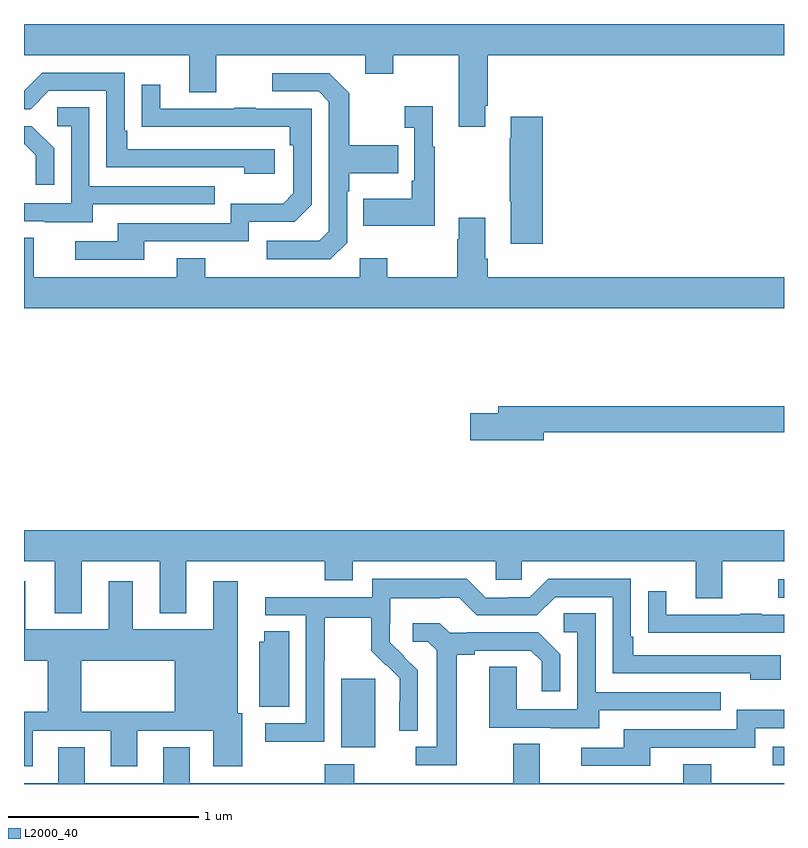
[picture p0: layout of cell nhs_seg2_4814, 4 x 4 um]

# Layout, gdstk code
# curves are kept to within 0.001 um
import gdstk
lib = gdstk.Library(unit=1e-6, precision=1e-09)
def R(c, l, rs):  # rectangles x0, y0, x1, y1
    for r in rs: c.add(gdstk.rectangle(r[:2], r[2:], *l))
def P(c, l, *ps):  # polygons
    for p in ps: c.add(gdstk.Polygon(p, *l))
L2000_40 = (2000, 40)

nhs_seg2_4814 = lib.new_cell('nhs_seg2_4814')
R(nhs_seg2_4814, L2000_40, [(376.941,643.899,377,643.995), (374.669,643.994,374.848,644.355), (376.971,644.781,377,644.877)])
P(nhs_seg2_4814, L2000_40, [(375.427,647.371),(375.44,647.371),(375.44,647.636),(377,647.636),(377,647.8),(373,647.8),(373,647.636),(373.871,647.636),(373.871,647.442),(374.011,647.442),(374.011,647.636),(374.795,647.636),(374.795,647.537),(374.943,647.537),(374.943,647.636),(375.287,647.636),(375.287,647.259),(375.427,647.259)],
  [(374.32,647.142),(373.543,647.142),(373.543,647.239),(373.53,647.239),(373.53,647.544),(373.095,647.544),(373,647.449),(373,647.352),(373.035,647.352),(373.131,647.448),(373.434,647.448),(373.434,647.046),(374.159,647.046),(374.159,647.012),(374.32,647.012)],
  [(374.7,646.65),(374.7,646.919),(374.713,646.919),(374.713,647.015),(374.969,647.015),(374.969,647.163),(374.713,647.163),(374.713,647.435),(374.607,647.541),(374.307,647.541),(374.307,647.445),(374.55,647.445),(374.604,647.391),(374.604,646.71),(374.553,646.659),(374.277,646.659),(374.277,646.563),(374.613,646.563)],
  [(373.633,646.656),(374.184,646.656),(374.184,646.758),(374.424,646.758),(374.514,646.848),(374.514,647.355),(374.219,647.355),(374.219,647.36),(374.107,647.36),(374.107,647.355),(373.717,647.355),(373.717,647.479),(373.621,647.479),(373.621,647.26),(374.398,647.259),(374.398,647.162),(374.418,647.162),(374.418,646.908),(374.365,646.855),(374.088,646.855),(374.088,646.752),(373.493,646.752),(373.493,646.656),(373.269,646.656),(373.269,646.56),(373.633,646.56)],
  [(375.163,647.155),(375.151,647.155),(375.151,647.368),(375.003,647.368),(375.003,647.255),(375.054,647.255),(375.054,646.975),(375.042,646.975),(375.042,646.879),(374.785,646.879),(374.785,646.739),(375.163,646.739)],
  [(373.363,646.851),(374.003,646.851),(374.003,646.947),(373.344,646.947),(373.344,647.363),(373.176,647.363),(373.176,647.262),(373.248,647.262),(373.248,646.857),(373,646.857),(373,646.761),(373.109,646.761),(373.109,646.757),(373.363,646.757)],
  [(375.731,647.311),(375.563,647.311),(375.563,647.198),(375.556,647.198),(375.556,646.867),(375.563,646.867),(375.563,646.644),(375.731,646.644)],
  [(373.158,647.146),(373.042,647.262),(373,647.262),(373,647.166),(373.004,647.166),(373.061,647.109),(373.061,646.953),(373.158,646.953)],
  [(377,646.468),(375.44,646.468),(375.44,646.564),(375.427,646.564),(375.427,646.78),(375.287,646.78),(375.287,646.667),(375.28,646.667),(375.28,646.468),(374.913,646.468),(374.913,646.567),(374.766,646.567),(374.766,646.468),(373.953,646.468),(373.953,646.567),(373.805,646.567),(373.805,646.468),(373.051,646.468),(373.051,646.676),(373,646.676),(373,646.304),(377,646.304)],
  [(375.736,645.652),(377,645.652),(377,645.788),(375.497,645.788),(375.497,645.752),(375.348,645.752),(375.348,645.61),(375.736,645.61)],
  [(373.303,644.972),(373.715,644.972),(373.715,644.699),(373.855,644.699),(373.855,644.972),(374.584,644.972),(374.584,644.873),(374.731,644.873),(374.731,644.972),(375.483,644.972),(375.483,644.874),(375.621,644.874),(375.621,644.972),(376.535,644.972),(376.535,644.778),(376.675,644.778),(376.675,644.972),(377,644.972),(377,645.136),(373,645.136),(373,644.972),(373.163,644.972),(373.163,644.699),(373.303,644.699)],
  [(374.58,644.452),(374.583,644.452),(374.583,644.676),(374.827,644.676),(374.827,644.501),(374.904,644.424),(374.907,644.427),(374.978,644.357),(374.978,644.234),(374.976,644.234),(374.976,644.08),(375.072,644.08),(375.072,644.398),(374.926,644.546),(374.926,644.643),(374.928,644.643),(374.928,644.777),(375.191,644.777),(375.191,644.781),(375.291,644.781),(375.384,644.688),(375.699,644.688),(375.795,644.784),(376.098,644.784),(376.098,644.382),(376.823,644.382),(376.823,644.348),(376.984,644.348),(376.984,644.478),(376.207,644.478),(376.207,644.575),(376.194,644.575),(376.194,644.88),(375.759,644.88),(375.663,644.784),(375.545,644.784),(375.545,644.781),(375.429,644.781),(375.329,644.881),(374.832,644.881),(374.832,644.784),(374.271,644.784),(374.271,644.688),(374.484,644.688),(374.484,644.121),(374.271,644.121),(374.271,644.023),(374.58,644.023)],
  [(373.045,644.079),(373.457,644.079),(373.457,643.893),(373.597,643.893),(373.597,644.079),(373.997,644.079),(373.997,643.893),(374.149,643.893),(374.149,644.172),(374.125,644.172),(374.125,644.866),(373.997,644.866),(373.997,644.614),(373.573,644.614),(373.573,644.866),(373.445,644.866),(373.445,644.614),(373.006,644.614),(373.006,644.866),(373,644.866),(373,644.45),(373.124,644.45),(373.124,644.18),(373.302,644.18),(373.302,644.45),(373.793,644.45),(373.793,644.18),(373.302,644.18),(373.124,644.18),(373,644.18),(373,643.893),(373.045,643.893)],
  [(377,644.691),(376.883,644.691),(376.883,644.696),(376.771,644.696),(376.771,644.691),(376.381,644.691),(376.381,644.815),(376.285,644.815),(376.285,644.596),(376.387,644.596),(376.387,644.595),(377,644.595)],
  [(376.027,644.187),(376.667,644.187),(376.667,644.283),(376.008,644.283),(376.008,644.699),(375.84,644.699),(375.84,644.598),(375.912,644.598),(375.912,644.193),(375.594,644.193),(375.594,644.417),(375.449,644.417),(375.449,644.097),(375.773,644.097),(375.773,644.093),(376.027,644.093)],
  [(375.277,644.48),(375.373,644.48),(375.373,644.502),(375.668,644.502),(375.725,644.445),(375.725,644.289),(375.822,644.289),(375.822,644.482),(375.706,644.598),(375.334,644.598),(375.334,644.595),(375.24,644.595),(375.188,644.647),(375.045,644.647),(375.045,644.55),(375.126,644.55),(375.173,644.503),(375.173,643.995),(375.063,643.995),(375.063,643.899),(375.277,643.899)],
  [(374.395,644.603),(374.264,644.603),(374.264,644.55),(374.237,644.55),(374.237,644.206),(374.395,644.206)],
  [(376.297,643.992),(376.848,643.992),(376.848,644.094),(377,644.094),(377,644.191),(376.752,644.191),(376.752,644.088),(376.157,644.088),(376.157,643.992),(375.933,643.992),(375.933,643.896),(376.297,643.896)],
  [(373.733,643.994),(373.733,643.804),(373.321,643.804),(373.321,643.994),(373.181,643.994),(373.181,643.804),(373,643.804),(373,643.8),(377,643.8),(377,643.804),(376.617,643.804),(376.617,643.903),(376.469,643.903),(376.469,643.804),(375.715,643.804),(375.715,644.012),(375.575,644.012),(375.575,643.804),(374.739,643.804),(374.739,643.903),(374.584,643.903),(374.584,643.804),(373.873,643.804),(373.873,643.994)])

lib.write_gds('nhs_seg2_4814.gds')
